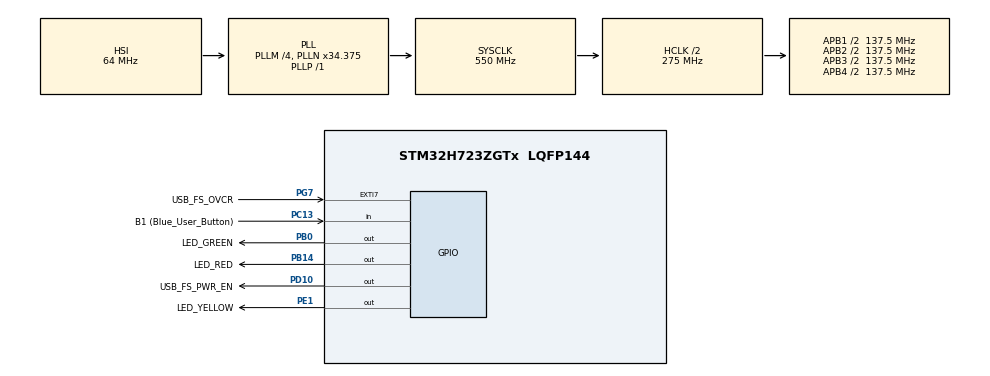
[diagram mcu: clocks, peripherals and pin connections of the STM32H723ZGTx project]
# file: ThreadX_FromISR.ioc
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CORTEX_M7.CPU_DCache=Enabled
CORTEX_M7.CPU_ICache=Enabled
Mcu.Family=STM32H7
Mcu.Name=STM32H723ZGTx
Mcu.Package=LQFP144
NVIC.PriorityGroup=NVIC_PRIORITYGROUP_4
NVIC.TIM6_DAC_IRQn=true\:0\:0\:false\:false\:true\:false\:true\:true
NVIC.TIM7_IRQn=true\:15\:0\:false\:false\:true\:false\:false\:true
NVIC.TimeBase=TIM7_IRQn
NVIC.TimeBaseIP=TIM7
PA1.GPIO_Label=RMII_REF_CLK
PA1.Signal=ETH_REF_CLK
PA10.GPIO_Label=USB_FS_ID
PA10.Signal=USB_OTG_HS_ID
PA13(JTMS/SWDIO).GPIO_Label=SWDIO
PA13(JTMS/SWDIO).Signal=DEBUG_JTMS-SWDIO
PA14(JTCK/SWCLK).GPIO_Label=SWCLK
PA14(JTCK/SWCLK).Signal=DEBUG_JTCK-SWCLK
PA2.GPIO_Label=RMII_MDIO
PA2.Signal=ETH_MDIO
PA7.GPIO_Label=RMII_CRS_DV
PA7.Signal=ETH_CRS_DV
PA9.GPIO_Label=USB_FS_VBUS
PA9.Signal=USB_OTG_HS_VBUS
PB0.GPIO_Label=LED_GREEN
PB0.Signal=GPIO_Output
PB13.GPIO_Label=RMII_TXD1
PB13.Signal=ETH_TXD1
PB14.GPIO_Label=LED_RED
PB14.Signal=GPIO_Output
PB3(JTDO/TRACESWO).GPIO_Label=SWO
PB3(JTDO/TRACESWO).Signal=DEBUG_JTDO-SWO
PC1.GPIO_Label=RMII_MDC
PC1.Signal=ETH_MDC
PC13.GPIO_Label=B1 (Blue_User_Button)
PC13.Signal=GPIO_Input
PC14-OSC32_IN.Signal=RCC_OSC32_IN
PC15-OSC32_OUT.Signal=RCC_OSC32_OUT
PC4.GPIO_Label=RMII_RXD0
PC4.Signal=ETH_RXD0
PC5.GPIO_Label=RMII_RXD1
PC5.Signal=ETH_RXD1
PD10.GPIO_Label=USB_FS_PWR_EN
PD10.Signal=GPIO_Output
PD8.GPIO_Label=STLK_VCP_RX
PD8.Signal=USART3_TX
PD9.GPIO_Label=STLK_VCP_TX
PD9.Signal=USART3_RX
PE1.GPIO_Label=LED_YELLOW
PE1.Signal=GPIO_Output
PG11.GPIO_Label=RMII_TX_EN
PG11.Signal=ETH_TX_EN
PG13.GPIO_Label=RMII_TXD0
PG13.Signal=ETH_TXD0
PG7.GPIO_Label=USB_FS_OVCR
PG7.Signal=GPXTI7
PH0-OSC_IN.GPIO_Label=MCO
PH0-OSC_IN.Signal=RCC_OSC_IN
PH1-OSC_OUT.Signal=RCC_OSC_OUT
ProjectManager.HeapSize=0x200
ProjectManager.StackSize=0x400
ProjectManager.TargetToolchain=STM32CubeIDE
RCC.ADCFreq_Value=608000000
RCC.APB1Freq_Value=137500000
RCC.APB2Freq_Value=137500000
RCC.APB3Freq_Value=137500000
RCC.APB4Freq_Value=137500000
RCC.CortexFreq_Value=550000000
RCC.D1PPRE=RCC_APB3_DIV2
RCC.D2PPRE1=RCC_APB1_DIV2
RCC.D2PPRE2=RCC_APB2_DIV2
RCC.D3PPRE=RCC_APB4_DIV2
RCC.DIVM1=4
RCC.DIVM2=1
RCC.DIVN1=34
RCC.DIVN2=19
RCC.DIVP1=1
RCC.DIVQ1=4
RCC.HCLKFreq_Value=275000000
RCC.HPRE=RCC_HCLK_DIV2
RCC.HSE_VALUE=8000000
RCC.PLLFRACN=3072
RCC.SYSCLKFreq_VALUE=550000000
RCC.SYSCLKSource=RCC_SYSCLKSOURCE_PLLCLK
RCC.USBCLockSelection=RCC_USBCLKSOURCE_HSI48
RCC.USBFreq_Value=48000000
STMicroelectronics.X-CUBE-AZRTOS-H7.1.1.0.AZUREIiRTOSIiApplicationsCcDeviceJjApplication=azureIirtosIiapp
STMicroelectronics.X-CUBE-AZRTOS-H7.1.1.0.AZUREIiRTOSIiApplicationsCcDeviceJjHWIiProfile=STM32H723ZGIiNUCLEO
STMicroelectronics.X-CUBE-AZRTOS-H7.1.1.0.TX_ENABLE_EVENT_TRACE=1
STMicroelectronics.X-CUBE-AZRTOS-H7.1.1.0.ThreadXCcRTOSJjThreadXJjCore=true
STMicroelectronics.X-CUBE-AZRTOS-H7.1.1.0.ThreadXCcRTOSJjThreadXJjPerformanceInfo=true
STMicroelectronics.X-CUBE-AZRTOS-H7.1.1.0.ThreadXCcRTOSJjThreadXJjTraceXOosupport=true
STMicroelectronics.X-CUBE-AZRTOS-H7.1.1.0_IsAnAzureRtosMw=true
TIM6.Period=999
TIM6.Prescaler=274
VP_STMicroelectronics.X-CUBE-AZRTOS-H7_VS_DeviceJjAZUREIiRTOSIiApplications_1.1.0_1.1.0.Mode=DeviceJjAZUREIiRTOSIiApplications
VP_STMicroelectronics.X-CUBE-AZRTOS-H7_VS_RTOSJjThreadX_6.1.7_1.1.0.Mode=RTOSJjThreadX
VP_SYS_VS_tim7.Mode=TIM7
VP_TIM6_VS_ClockSourceINT.Mode=Enable_Timer
board=NUCLEO-H723ZG

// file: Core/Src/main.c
/* USER CODE BEGIN Header */
/**
  ******************************************************************************
  * @file           : main.c
  * @brief          : Main program body
  ******************************************************************************
  * @attention
  *
  * <h2><center>&copy; Copyright (c) 2021 STMicroelectronics.
  * All rights reserved.</center></h2>
  *
  * This software component is licensed by ST under BSD 3-Clause license,
  * the "License"; You may not use this file except in compliance with the
  * License. You may obtain a copy of the License at:
  *                        opensource.org/licenses/BSD-3-Clause
  *
  ******************************************************************************
  */
/* USER CODE END Header */
#include "main.h"
#include "app_azure_rtos.h"

TIM_HandleTypeDef htim6;

/* USER CODE BEGIN PV */
#ifdef USE_SEMAPHORE_FROM_ISR
  extern TX_SEMAPHORE my_semaphore_ptr;
#endif
#ifdef USE_EVENTFLAGS_FROM_ISR
  extern TX_EVENT_FLAGS_GROUP event_ptr;
#endif
/* USER CODE END PV */

void SystemClock_Config(void);
static void MX_GPIO_Init(void);
static void MX_TIM6_Init(void);

int main(void)
{

  /* Enable I-Cache---------------------------------------------------------*/
  SCB_EnableICache();

  /* Enable D-Cache---------------------------------------------------------*/
  SCB_EnableDCache();

  /* MCU Configuration--------------------------------------------------------*/

  /* Reset of all peripherals, Initializes the Flash interface and the Systick. */
  HAL_Init();

  /* Configure the system clock */
  SystemClock_Config();

  /* Initialize all configured peripherals */
  MX_GPIO_Init();
  MX_TIM6_Init();
  MX_AZURE_RTOS_Init();

  /* Infinite loop */
  while (1)
  {

  }
}

void SystemClock_Config(void)
{
  RCC_OscInitTypeDef RCC_OscInitStruct = {0};
  RCC_ClkInitTypeDef RCC_ClkInitStruct = {0};

  /** Supply configuration update enable
  */
  HAL_PWREx_ConfigSupply(PWR_LDO_SUPPLY);
  /** Configure the main internal regulator output voltage
  */
  __HAL_PWR_VOLTAGESCALING_CONFIG(PWR_REGULATOR_VOLTAGE_SCALE0);

  while(!__HAL_PWR_GET_FLAG(PWR_FLAG_VOSRDY)) {}
  /** Initializes the RCC Oscillators according to the specified parameters
  * in the RCC_OscInitTypeDef structure.
  */
  RCC_OscInitStruct.OscillatorType = RCC_OSCILLATORTYPE_HSI;
  RCC_OscInitStruct.HSIState = RCC_HSI_DIV1;
  RCC_OscInitStruct.HSICalibrationValue = RCC_HSICALIBRATION_DEFAULT;
  RCC_OscInitStruct.PLL.PLLState = RCC_PLL_ON;
  RCC_OscInitStruct.PLL.PLLSource = RCC_PLLSOURCE_HSI;
  RCC_OscInitStruct.PLL.PLLM = 4;
  RCC_OscInitStruct.PLL.PLLN = 34;
  RCC_OscInitStruct.PLL.PLLP = 1;
  RCC_OscInitStruct.PLL.PLLQ = 4;
  RCC_OscInitStruct.PLL.PLLR = 2;
  RCC_OscInitStruct.PLL.PLLRGE = RCC_PLL1VCIRANGE_3;
  RCC_OscInitStruct.PLL.PLLVCOSEL = RCC_PLL1VCOWIDE;
  RCC_OscInitStruct.PLL.PLLFRACN = 3072;
  if (HAL_RCC_OscConfig(&RCC_OscInitStruct) != HAL_OK)
  {
    Error_Handler();
  }
  /** Initializes the CPU, AHB and APB buses clocks
  */
  RCC_ClkInitStruct.ClockType = RCC_CLOCKTYPE_HCLK|RCC_CLOCKTYPE_SYSCLK
                              |RCC_CLOCKTYPE_PCLK1|RCC_CLOCKTYPE_PCLK2
                              |RCC_CLOCKTYPE_D3PCLK1|RCC_CLOCKTYPE_D1PCLK1;
  RCC_ClkInitStruct.SYSCLKSource = RCC_SYSCLKSOURCE_PLLCLK;
  RCC_ClkInitStruct.SYSCLKDivider = RCC_SYSCLK_DIV1;
  RCC_ClkInitStruct.AHBCLKDivider = RCC_HCLK_DIV2;
  RCC_ClkInitStruct.APB3CLKDivider = RCC_APB3_DIV2;
  RCC_ClkInitStruct.APB1CLKDivider = RCC_APB1_DIV2;
  RCC_ClkInitStruct.APB2CLKDivider = RCC_APB2_DIV2;
  RCC_ClkInitStruct.APB4CLKDivider = RCC_APB4_DIV2;

  if (HAL_RCC_ClockConfig(&RCC_ClkInitStruct, FLASH_LATENCY_3) != HAL_OK)
  {
    Error_Handler();
  }
}

static void MX_TIM6_Init(void)
{

  TIM_MasterConfigTypeDef sMasterConfig = {0};

  htim6.Instance = TIM6;
  htim6.Init.Prescaler = 274;
  htim6.Init.CounterMode = TIM_COUNTERMODE_UP;
  htim6.Init.Period = 999;
  htim6.Init.AutoReloadPreload = TIM_AUTORELOAD_PRELOAD_DISABLE;
  if (HAL_TIM_Base_Init(&htim6) != HAL_OK)
  {
    Error_Handler();
  }
  sMasterConfig.MasterOutputTrigger = TIM_TRGO_RESET;
  sMasterConfig.MasterSlaveMode = TIM_MASTERSLAVEMODE_DISABLE;
  if (HAL_TIMEx_MasterConfigSynchronization(&htim6, &sMasterConfig) != HAL_OK)
  {
    Error_Handler();
  }

}

static void MX_GPIO_Init(void)
{
  GPIO_InitTypeDef GPIO_InitStruct = {0};

  /* GPIO Ports Clock Enable */
  __HAL_RCC_GPIOC_CLK_ENABLE();
  __HAL_RCC_GPIOH_CLK_ENABLE();
  __HAL_RCC_GPIOA_CLK_ENABLE();
  __HAL_RCC_GPIOB_CLK_ENABLE();
  __HAL_RCC_GPIOD_CLK_ENABLE();
  __HAL_RCC_GPIOG_CLK_ENABLE();
  __HAL_RCC_GPIOE_CLK_ENABLE();

  /*Configure GPIO pin Output Level */
  HAL_GPIO_WritePin(GPIOB, LED_GREEN_Pin|LED_RED_Pin, GPIO_PIN_RESET);

  /*Configure GPIO pin Output Level */
  HAL_GPIO_WritePin(USB_FS_PWR_EN_GPIO_Port, USB_FS_PWR_EN_Pin, GPIO_PIN_RESET);

  /*Configure GPIO pin Output Level */
  HAL_GPIO_WritePin(LED_YELLOW_GPIO_Port, LED_YELLOW_Pin, GPIO_PIN_RESET);

  /*Configure GPIO pin : B1_Pin */
  GPIO_InitStruct.Pin = B1_Pin;
  GPIO_InitStruct.Mode = GPIO_MODE_INPUT;
  GPIO_InitStruct.Pull = GPIO_NOPULL;
  HAL_GPIO_Init(B1_GPIO_Port, &GPIO_InitStruct);

  /*Configure GPIO pins : RMII_MDC_Pin RMII_RXD0_Pin RMII_RXD1_Pin */
  GPIO_InitStruct.Pin = RMII_MDC_Pin|RMII_RXD0_Pin|RMII_RXD1_Pin;
  GPIO_InitStruct.Mode = GPIO_MODE_AF_PP;
  GPIO_InitStruct.Pull = GPIO_NOPULL;
  GPIO_InitStruct.Speed = GPIO_SPEED_FREQ_LOW;
  GPIO_InitStruct.Alternate = GPIO_AF11_ETH;
  HAL_GPIO_Init(GPIOC, &GPIO_InitStruct);

  /*Configure GPIO pins : RMII_REF_CLK_Pin RMII_MDIO_Pin RMII_CRS_DV_Pin */
  GPIO_InitStruct.Pin = RMII_REF_CLK_Pin|RMII_MDIO_Pin|RMII_CRS_DV_Pin;
  GPIO_InitStruct.Mode = GPIO_MODE_AF_PP;
  GPIO_InitStruct.Pull = GPIO_NOPULL;
  GPIO_InitStruct.Speed = GPIO_SPEED_FREQ_LOW;
  GPIO_InitStruct.Alternate = GPIO_AF11_ETH;
  HAL_GPIO_Init(GPIOA, &GPIO_InitStruct);

  /*Configure GPIO pins : LED_GREEN_Pin LED_RED_Pin */
  GPIO_InitStruct.Pin = LED_GREEN_Pin|LED_RED_Pin;
  GPIO_InitStruct.Mode = GPIO_MODE_OUTPUT_PP;
  GPIO_InitStruct.Pull = GPIO_NOPULL;
  GPIO_InitStruct.Speed = GPIO_SPEED_FREQ_LOW;
  HAL_GPIO_Init(GPIOB, &GPIO_InitStruct);

  /*Configure GPIO pin : RMII_TXD1_Pin */
  GPIO_InitStruct.Pin = RMII_TXD1_Pin;
  GPIO_InitStruct.Mode = GPIO_MODE_AF_PP;
  GPIO_InitStruct.Pull = GPIO_NOPULL;
  GPIO_InitStruct.Speed = GPIO_SPEED_FREQ_LOW;
  GPIO_InitStruct.Alternate = GPIO_AF11_ETH;
  HAL_GPIO_Init(RMII_TXD1_GPIO_Port, &GPIO_InitStruct);

  /*Configure GPIO pins : STLK_VCP_RX_Pin STLK_VCP_TX_Pin */
  GPIO_InitStruct.Pin = STLK_VCP_RX_Pin|STLK_VCP_TX_Pin;
  GPIO_InitStruct.Mode = GPIO_MODE_AF_PP;
  GPIO_InitStruct.Pull = GPIO_NOPULL;
  GPIO_InitStruct.Speed = GPIO_SPEED_FREQ_LOW;
  GPIO_InitStruct.Alternate = GPIO_AF7_USART3;
  HAL_GPIO_Init(GPIOD, &GPIO_InitStruct);

  /*Configure GPIO pin : USB_FS_PWR_EN_Pin */
  GPIO_InitStruct.Pin = USB_FS_PWR_EN_Pin;
  GPIO_InitStruct.Mode = GPIO_MODE_OUTPUT_PP;
  GPIO_InitStruct.Pull = GPIO_NOPULL;
  GPIO_InitStruct.Speed = GPIO_SPEED_FREQ_LOW;
  HAL_GPIO_Init(USB_FS_PWR_EN_GPIO_Port, &GPIO_InitStruct);

  /*Configure GPIO pin : USB_FS_OVCR_Pin */
  GPIO_InitStruct.Pin = USB_FS_OVCR_Pin;
  GPIO_InitStruct.Mode = GPIO_MODE_IT_RISING;
  GPIO_InitStruct.Pull = GPIO_NOPULL;
  HAL_GPIO_Init(USB_FS_OVCR_GPIO_Port, &GPIO_InitStruct);

  /*Configure GPIO pin : USB_FS_ID_Pin */
  GPIO_InitStruct.Pin = USB_FS_ID_Pin;
  GPIO_InitStruct.Mode = GPIO_MODE_AF_PP;
  GPIO_InitStruct.Pull = GPIO_NOPULL;
  GPIO_InitStruct.Speed = GPIO_SPEED_FREQ_LOW;
  GPIO_InitStruct.Alternate = GPIO_AF10_OTG1_HS;
  HAL_GPIO_Init(USB_FS_ID_GPIO_Port, &GPIO_InitStruct);

  /*Configure GPIO pins : RMII_TX_EN_Pin RMII_TXD0_Pin */
  GPIO_InitStruct.Pin = RMII_TX_EN_Pin|RMII_TXD0_Pin;
  GPIO_InitStruct.Mode = GPIO_MODE_AF_PP;
  GPIO_InitStruct.Pull = GPIO_NOPULL;
  GPIO_InitStruct.Speed = GPIO_SPEED_FREQ_LOW;
  GPIO_InitStruct.Alternate = GPIO_AF11_ETH;
  HAL_GPIO_Init(GPIOG, &GPIO_InitStruct);

  /*Configure GPIO pin : LED_YELLOW_Pin */
  GPIO_InitStruct.Pin = LED_YELLOW_Pin;
  GPIO_InitStruct.Mode = GPIO_MODE_OUTPUT_PP;
  GPIO_InitStruct.Pull = GPIO_NOPULL;
  GPIO_InitStruct.Speed = GPIO_SPEED_FREQ_LOW;
  HAL_GPIO_Init(LED_YELLOW_GPIO_Port, &GPIO_InitStruct);

}

void HAL_TIM_PeriodElapsedCallback(TIM_HandleTypeDef *htim)
{
  if (htim->Instance == TIM7) {
    HAL_IncTick();
  }
  /* USER CODE BEGIN Callback 1 */
  if(htim->Instance == TIM6)
  {
	tx_trace_isr_enter_insert (0x3210);
#ifdef USE_SEMAPHORE_FROM_ISR
	tx_semaphore_ceiling_put(&my_semaphore_ptr,1);
#endif
#ifdef USE_EVENTFLAGS_FROM_ISR
	tx_event_flags_set(&event_ptr, 0x1, TX_OR);
#endif
	tx_trace_isr_exit_insert (0x3210);
    //HAL_GPIO_TogglePin(LED_YELLOW_GPIO_Port, LED_YELLOW_Pin);
  }

  /* USER CODE END Callback 1 */
}

void Error_Handler(void)
{
  __disable_irq();
  while (1)
  {
  }
}

/************************ (C) COPYRIGHT STMicroelectronics *****END OF FILE****/
